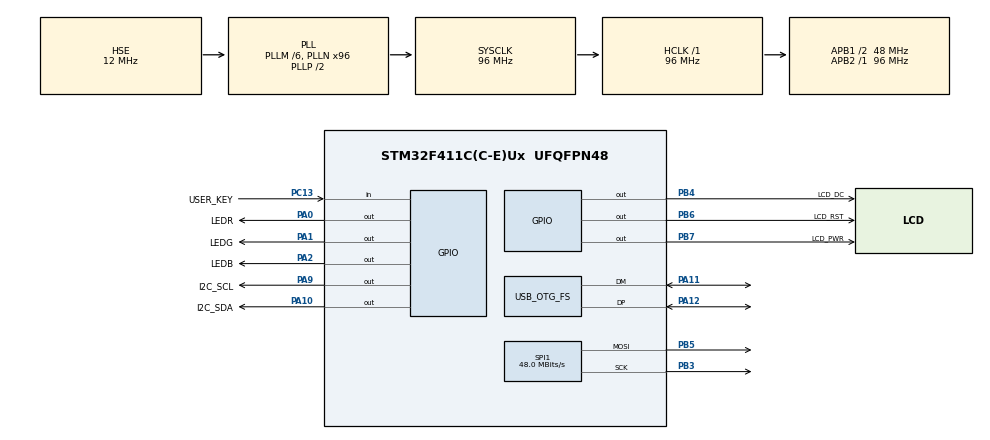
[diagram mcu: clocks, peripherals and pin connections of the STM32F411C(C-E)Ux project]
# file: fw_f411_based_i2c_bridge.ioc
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FREERTOS.INCLUDE_eTaskGetState=1
FREERTOS.Tasks01=defaultTask,0,128,StartDefaultTask,Default,NULL,Dynamic,NULL,NULL
FREERTOS.configTICK_RATE_HZ=100
FREERTOS.configTOTAL_HEAP_SIZE=30720
FREERTOS.configUSE_NEWLIB_REENTRANT=1
Mcu.Family=STM32F4
Mcu.Name=STM32F411C(C-E)Ux
Mcu.Package=UFQFPN48
NVIC.OTG_FS_IRQn=true\:5\:0\:false\:false\:true\:true\:false\:true
NVIC.PriorityGroup=NVIC_PRIORITYGROUP_4
NVIC.SPI1_IRQn=true\:5\:0\:false\:false\:true\:true\:true\:true
NVIC.TIM1_TRG_COM_TIM11_IRQn=true\:15\:0\:false\:false\:true\:false\:false\:true
NVIC.TIM4_IRQn=true\:5\:0\:false\:false\:true\:true\:true\:true
NVIC.TimeBase=TIM1_TRG_COM_TIM11_IRQn
NVIC.TimeBaseIP=TIM11
PA0-WKUP.GPIO_Label=LEDR
PA0-WKUP.Signal=GPIO_Output
PA0-WKUP.Stacked=true
PA1.GPIO_Label=LEDG
PA1.Signal=GPIO_Output
PA1.Stacked=true
PA10.GPIO_Label=I2C_SDA
PA10.GPIO_ModeDefaultOutputPP=GPIO_MODE_OUTPUT_OD
PA10.GPIO_PuPd=GPIO_NOPULL
PA10.GPIO_Speed=GPIO_SPEED_FREQ_VERY_HIGH
PA10.PinState=GPIO_PIN_SET
PA10.Signal=GPIO_Output
PA11.Mode=Device_Only
PA11.Signal=USB_OTG_FS_DM
PA11.Stacked=true
PA12.Mode=Device_Only
PA12.Signal=USB_OTG_FS_DP
PA12.Stacked=true
PA13.Mode=Serial_Wire
PA13.Signal=SYS_JTMS-SWDIO
PA14.Mode=Serial_Wire
PA14.Signal=SYS_JTCK-SWCLK
PA2.GPIO_Label=LEDB
PA2.Signal=GPIO_Output
PA2.Stacked=true
PA9.GPIO_Label=I2C_SCL
PA9.GPIO_ModeDefaultOutputPP=GPIO_MODE_OUTPUT_OD
PA9.GPIO_PuPd=GPIO_NOPULL
PA9.GPIO_Speed=GPIO_SPEED_FREQ_VERY_HIGH
PA9.PinState=GPIO_PIN_SET
PA9.Signal=GPIO_Output
PB3.Mode=TX_Only_Simplex_Unidirect_Master
PB3.Signal=SPI1_SCK
PB3.Stacked=true
PB4.GPIO_Label=LCD_DC
PB4.Signal=GPIO_Output
PB4.Stacked=true
PB5.Mode=TX_Only_Simplex_Unidirect_Master
PB5.Signal=SPI1_MOSI
PB5.Stacked=true
PB6.GPIO_Label=LCD_RST
PB6.Signal=GPIO_Output
PB6.Stacked=true
PB7.GPIO_Label=LCD_PWR
PB7.Signal=GPIO_Output
PB7.Stacked=true
PC13-ANTI_TAMP.GPIO_Label=USER_KEY
PC13-ANTI_TAMP.Signal=GPIO_Input
PC13-ANTI_TAMP.Stacked=true
PH0\ -\ OSC_IN.Mode=HSE-External-Oscillator
PH0\ -\ OSC_IN.Signal=RCC_OSC_IN
PH1\ -\ OSC_OUT.Mode=HSE-External-Oscillator
PH1\ -\ OSC_OUT.Signal=RCC_OSC_OUT
ProjectManager.HeapSize=0x400
ProjectManager.StackSize=0x800
ProjectManager.TargetToolchain=STM32CubeIDE
RCC.48MHZClocksFreq_Value=48000000
RCC.AHBFreq_Value=96000000
RCC.APB1CLKDivider=RCC_HCLK_DIV2
RCC.APB1Freq_Value=48000000
RCC.APB1TimFreq_Value=96000000
RCC.APB2Freq_Value=96000000
RCC.APB2TimFreq_Value=96000000
RCC.CortexFreq_Value=96000000
RCC.HCLKFreq_Value=96000000
RCC.HSE_VALUE=12000000
RCC.HSI_VALUE=16000000
RCC.LSE_VALUE=32768
RCC.PLLM=6
RCC.PLLN=96
RCC.SYSCLKFreq_VALUE=96000000
RCC.SYSCLKSource=RCC_SYSCLKSOURCE_PLLCLK
RCC.VCOOutputFreq_Value=192000000
SPI1.BaudRatePrescaler=SPI_BAUDRATEPRESCALER_2
SPI1.CLKPhase=SPI_PHASE_2EDGE
SPI1.CLKPolarity=SPI_POLARITY_HIGH
SPI1.CalculateBaudRate=48.0 MBits/s
SPI1.Direction=SPI_DIRECTION_2LINES
SPI1.Mode=SPI_MODE_MASTER
SPI1.VirtualType=VM_MASTER
STMicroelectronics.X-CUBE-TOUCHGFX.4.18.1.ApplicationCcGraphicsJjApplication=TouchGFXOoGenerator
STMicroelectronics.X-CUBE-TOUCHGFX.4.18.1.tgfx_buffering_strategy=Partial
STMicroelectronics.X-CUBE-TOUCHGFX.4.18.1.tgfx_custom_height=135
STMicroelectronics.X-CUBE-TOUCHGFX.4.18.1.tgfx_custom_width=240
STMicroelectronics.X-CUBE-TOUCHGFX.4.18.1.tgfx_number_of_blocks=1
STMicroelectronics.X-CUBE-TOUCHGFX.4.18.1_IsPackSelfContextualization=true
TIM4.Period=50-1
TIM4.Prescaler=96-1
USB_DEVICE.CLASS_NAME_FS=CDC
USB_DEVICE.VirtualMode=Cdc
USB_DEVICE.VirtualModeFS=Cdc_FS
USB_OTG_FS.VirtualMode=Device_Only
VP_CRC_VS_CRC.Mode=CRC_Activate
VP_FREERTOS_VS_CMSIS_V1.Mode=CMSIS_V1
VP_STMicroelectronics.X-CUBE-TOUCHGFX_VS_GraphicsJjApplication_4.18.1.Mode=GraphicsJjApplication
VP_SYS_VS_tim11.Mode=TIM11
VP_TIM4_VS_ClockSourceINT.Mode=Internal
VP_USB_DEVICE_VS_USB_DEVICE_CDC_FS.Mode=CDC_FS
board=custom

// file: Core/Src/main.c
/* USER CODE BEGIN Header */
/**
  ******************************************************************************
  * @file           : main.c
  * @brief          : Main program body
  ******************************************************************************
  * @attention
  *
  * <h2><center>&copy; Copyright (c) 2022 STMicroelectronics.
  * All rights reserved.</center></h2>
  *
  * This software component is licensed by ST under Ultimate Liberty license
  * SLA0044, the "License"; You may not use this file except in compliance with
  * the License. You may obtain a copy of the License at:
  *                             www.st.com/SLA0044
  *
  ******************************************************************************
  */
/* USER CODE END Header */
#include "main.h"
#include "cmsis_os.h"
#include "crc.h"
#include "spi.h"
#include "tim.h"
#include "usb_device.h"
#include "gpio.h"
#include "app_touchgfx.h"

void SystemClock_Config(void);
void MX_FREERTOS_Init(void);

int main(void)
{

  /* MCU Configuration--------------------------------------------------------*/

  /* Reset of all peripherals, Initializes the Flash interface and the Systick. */
  HAL_Init();

  /* Configure the system clock */
  SystemClock_Config();

  /* Initialize all configured peripherals */
  MX_GPIO_Init();
  MX_SPI1_Init();
  MX_TIM4_Init();
  MX_CRC_Init();
  MX_TouchGFX_Init();

  /* Call init function for freertos objects (in freertos.c) */
  MX_FREERTOS_Init();
  /* Start scheduler */
  osKernelStart();

  /* We should never get here as control is now taken by the scheduler */
  /* Infinite loop */
  while (1)
  {

  }
}

void SystemClock_Config(void)
{
  RCC_OscInitTypeDef RCC_OscInitStruct = {0};
  RCC_ClkInitTypeDef RCC_ClkInitStruct = {0};

  /** Configure the main internal regulator output voltage
  */
  __HAL_RCC_PWR_CLK_ENABLE();
  __HAL_PWR_VOLTAGESCALING_CONFIG(PWR_REGULATOR_VOLTAGE_SCALE1);
  /** Initializes the RCC Oscillators according to the specified parameters
  * in the RCC_OscInitTypeDef structure.
  */
  RCC_OscInitStruct.OscillatorType = RCC_OSCILLATORTYPE_HSE;
  RCC_OscInitStruct.HSEState = RCC_HSE_ON;
  RCC_OscInitStruct.PLL.PLLState = RCC_PLL_ON;
  RCC_OscInitStruct.PLL.PLLSource = RCC_PLLSOURCE_HSE;
  RCC_OscInitStruct.PLL.PLLM = 6;
  RCC_OscInitStruct.PLL.PLLN = 96;
  RCC_OscInitStruct.PLL.PLLP = RCC_PLLP_DIV2;
  RCC_OscInitStruct.PLL.PLLQ = 4;
  if (HAL_RCC_OscConfig(&RCC_OscInitStruct) != HAL_OK)
  {
    Error_Handler();
  }
  /** Initializes the CPU, AHB and APB buses clocks
  */
  RCC_ClkInitStruct.ClockType = RCC_CLOCKTYPE_HCLK|RCC_CLOCKTYPE_SYSCLK
                              |RCC_CLOCKTYPE_PCLK1|RCC_CLOCKTYPE_PCLK2;
  RCC_ClkInitStruct.SYSCLKSource = RCC_SYSCLKSOURCE_PLLCLK;
  RCC_ClkInitStruct.AHBCLKDivider = RCC_SYSCLK_DIV1;
  RCC_ClkInitStruct.APB1CLKDivider = RCC_HCLK_DIV2;
  RCC_ClkInitStruct.APB2CLKDivider = RCC_HCLK_DIV1;

  if (HAL_RCC_ClockConfig(&RCC_ClkInitStruct, FLASH_LATENCY_3) != HAL_OK)
  {
    Error_Handler();
  }
}

void HAL_TIM_PeriodElapsedCallback(TIM_HandleTypeDef *htim)
{
  if (htim->Instance == TIM11) {
    HAL_IncTick();
  }
}

void Error_Handler(void)
{
  __disable_irq();
  while (1)
  {
  }
}

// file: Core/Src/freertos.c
/* USER CODE BEGIN Header */
/**
  ******************************************************************************
  * File Name          : freertos.c
  * Description        : Code for freertos applications
  ******************************************************************************
  * @attention
  *
  * <h2><center>&copy; Copyright (c) 2022 STMicroelectronics.
  * All rights reserved.</center></h2>
  *
  * This software component is licensed by ST under Ultimate Liberty license
  * SLA0044, the "License"; You may not use this file except in compliance with
  * the License. You may obtain a copy of the License at:
  *                             www.st.com/SLA0044
  *
  ******************************************************************************
  */
/* USER CODE END Header */

#include "FreeRTOS.h"
#include "task.h"
#include "main.h"
#include "cmsis_os.h"

/* USER CODE BEGIN Includes */
/* USER CODE BEGIN Includes */
#include "string.h"
#include "app_touchgfx.h"
#include "tftlcd.h"
#include "usbd_cdc_if.h"
#include "mb.h"
#include "mb_app.h"
#include "fifo.h"
/* USER CODE END Includes */

/* USER CODE BEGIN Variables */

CdcRxBuff_TypeDef     vcpRxBuff;;
uint8_t               vpcTxBuff[MAX_FIFO_SIZE];

osThreadId            vcpMbRxTaskHandle;
osThreadId            vcpMbTxTaskHandle;
osThreadId            vcpMbTxPollTaskHandle;
osThreadId            mbTaskHandle;

osThreadId 						TaskTGFXVSyncHandle;
osThreadId            TaskTouchGFXHandle;

/* USER CODE END Variables */
osThreadId defaultTaskHandle;

/* USER CODE BEGIN FunctionPrototypes */

void StartVcpMbRxTask(void const * argument);
void StartVcpMbTxTask(void const * argument);
void StartVcpTxPollTask(void const * argument);
void StartMbTask(void const * argument);

// functions for TouchGFX
extern void TE_Handler(void);
void StartTGFXVSyncTask(void const * argument);
void StartTouchGfxTask(void const * argument);

/* USER CODE END FunctionPrototypes */

void StartDefaultTask(void const * argument);

extern void MX_USB_DEVICE_Init(void);
void MX_FREERTOS_Init(void); /* (MISRA C 2004 rule 8.1) */

/* GetIdleTaskMemory prototype (linked to static allocation support) */
void vApplicationGetIdleTaskMemory( StaticTask_t **ppxIdleTaskTCBBuffer, StackType_t **ppxIdleTaskStackBuffer, uint32_t *pulIdleTaskStackSize );

/* USER CODE BEGIN GET_IDLE_TASK_MEMORY */
static StaticTask_t xIdleTaskTCBBuffer;
static StackType_t xIdleStack[configMINIMAL_STACK_SIZE];

void vApplicationGetIdleTaskMemory( StaticTask_t **ppxIdleTaskTCBBuffer, StackType_t **ppxIdleTaskStackBuffer, uint32_t *pulIdleTaskStackSize )
{
  *ppxIdleTaskTCBBuffer = &xIdleTaskTCBBuffer;
  *ppxIdleTaskStackBuffer = &xIdleStack[0];
  *pulIdleTaskStackSize = configMINIMAL_STACK_SIZE;
  /* place for user code */
}
/* USER CODE END GET_IDLE_TASK_MEMORY */

void MX_FREERTOS_Init(void) {

  /* Create the thread(s) */
  /* definition and creation of defaultTask */
  osThreadDef(defaultTask, StartDefaultTask, osPriorityNormal, 0, 128);
  defaultTaskHandle = osThreadCreate(osThread(defaultTask), NULL);

  /* USER CODE BEGIN RTOS_THREADS */

  osThreadDef (modbusPollingTask, StartMbTask, osPriorityNormal, 0, 256);
  mbTaskHandle = osThreadCreate(osThread(modbusPollingTask), NULL);

  // create the vcp received data process task.
  osThreadDef(vcpDataRecvTask, StartVcpMbRxTask, osPriorityNormal, 0, 256);
  vcpMbRxTaskHandle = osThreadCreate(osThread(vcpDataRecvTask), NULL);

  osThreadDef(vcpDataSendTask, StartVcpMbTxTask, osPriorityNormal, 0, 256);
  vcpMbTxTaskHandle = osThreadCreate(osThread(vcpDataSendTask), NULL);

  osThreadDef(vcpTxPollTask, StartVcpTxPollTask, osPriorityNormal, 0, 256);
  vcpMbTxPollTaskHandle = osThreadCreate(osThread(vcpTxPollTask), NULL);
  osThreadSuspend(vcpMbTxPollTaskHandle);

	CreateMbHoldingProcTask();

  InitVcpRTOSObjects();

  // create the MODBUS protocol stack task.
  eMBInit(MB_RTU, 0X01, 1, 115200, MB_PAR_NONE);
  eMBEnable();

  osThreadDef(TaskTouchGFX, StartTouchGfxTask, osPriorityNormal, 0, 1024);
  TaskTouchGFXHandle = osThreadCreate(osThread(TaskTouchGFX), NULL);

	// start the V-Sync task for TouchGFX
	osThreadDef(TaskTGFXVSync, StartTGFXVSyncTask, osPriorityNormal, 0, 128);
	TaskTGFXVSyncHandle = osThreadCreate(osThread(TaskTGFXVSync), NULL);

  /* USER CODE END RTOS_THREADS */

}

void StartDefaultTask(void const * argument)
{
  /* init code for USB_DEVICE */
  MX_USB_DEVICE_Init();
  /* USER CODE BEGIN StartDefaultTask */

  // turn off the 3-color-led.
	HAL_GPIO_WritePin(LEDR_GPIO_Port, LEDR_Pin, GPIO_PIN_SET);
	HAL_GPIO_WritePin(LEDB_GPIO_Port, LEDB_Pin, GPIO_PIN_SET);
	HAL_GPIO_WritePin(LEDG_GPIO_Port, LEDG_Pin, GPIO_PIN_SET);

  // initialize the TFT LCD

  /* Infinite loop */
  for(;;)
  {
		HAL_GPIO_TogglePin(LEDB_GPIO_Port, LEDB_Pin);
    osDelay(1000);
  }
  /* USER CODE END StartDefaultTask */
}

/* USER CODE BEGIN Application */

/**
 * @brief The task to connect the VCP RX data and the modbus protocol stack.
 *
 * @param argument
 */
void StartVcpMbRxTask(void const * argument)
{
  // start to poll the VCP RX packages.
  for(;;)
  {
    osEvent evt = osMessageGet(cdcRxMsgHandle, osWaitForever);

    if(evt.status == osEventMessage && evt.value.p != NULL)
    {

      HAL_GPIO_WritePin(LEDG_GPIO_Port, LEDG_Pin, GPIO_PIN_RESET);

      // get the address of the pool
      uint32_t pPool = (uint32_t)evt.value.p;

      // copy the data to the temporary memory.
      memcpy((uint8_t*)&vcpRxBuff, (uint8_t*)pPool, sizeof(CdcRxBuff_TypeDef));

      // free the pool.
      osPoolFree(cdcRxPoolhandle, (void*)pPool);

      // push the data to the fifo.
      for(int i = 0; i < vcpRxBuff.Length; i++)
      {
        fifo_put(hVcpRxFifo, vcpRxBuff.bufCdcRx[i]);
        pxMBFrameCBByteReceived();
      }

			HAL_GPIO_WritePin(LEDG_GPIO_Port, LEDG_Pin, GPIO_PIN_SET);
    }
  }
}

/**
 * @brief The task to transmit the Modbus frame via VCP.
 *
 * @param argument
 */
void StartVcpMbTxTask(void const * argument)
{
  for(;;)
  {
    osEvent evt = osSignalWait(0x1, osWaitForever);
    if(evt.status == osEventSignal)
    {
      if((evt.value.signals & 0x1) > 0)
      {

				HAL_GPIO_WritePin(LEDR_GPIO_Port, LEDR_Pin, GPIO_PIN_RESET);

        osThreadSuspend(vcpMbRxTaskHandle);
        osThreadSuspend(vcpMbTxPollTaskHandle);
        osThreadSuspend(mbTaskHandle);

        int fifoLen = fifo_len(hVcpTxFifo);
        fifo_out(hVcpTxFifo, vpcTxBuff, fifoLen);

        extern USBD_HandleTypeDef hUsbDeviceFS;
        USBD_CDC_HandleTypeDef *hcdc = (USBD_CDC_HandleTypeDef*)hUsbDeviceFS.pClassData;
        CDC_Transmit_FS(vpcTxBuff, fifoLen);
        while(hcdc->TxState != 0);

        osThreadResume(vcpMbRxTaskHandle);
        osThreadResume(mbTaskHandle);

				HAL_GPIO_WritePin(LEDR_GPIO_Port, LEDR_Pin, GPIO_PIN_SET);

      }
    }
  }

}

void StartVcpTxPollTask(void const * argument)
{
  for(;;)
  {
    pxMBFrameCBTransmitterEmpty();
  }
}

/**
 * @brief The task to run the modbus protocol stack.
 *
 * @param argument
 */
void StartMbTask(void const * argument)
{
	for(;;)
	{
		eMBPoll();
	}

}

/**
 * @brief The task to init TouchGFX.
 */
void StartTouchGfxTask(void const * argument)
{
  /* USER CODE BEGIN StartTouchGfxTask */

  LCD_Init();
  LCD_Clear(RED);

  MX_TouchGFX_Process();

  /* Infinite loop */
  for(;;)
  {
    osDelay(10);
  }
  /* USER CODE END StartTouchGfxTask */
}

void StartTGFXVSyncTask(void const * args)
{
	osDelay(1000);  // wait for the LCD to be initialized.

	for(;;)
	{
		TE_Handler();
		osDelay(50);
	}
}

/* USER CODE END Application */
